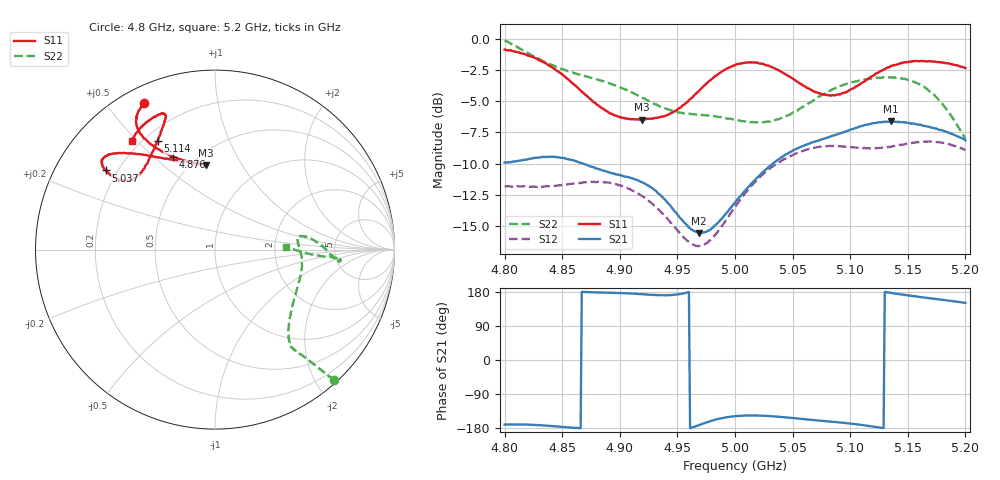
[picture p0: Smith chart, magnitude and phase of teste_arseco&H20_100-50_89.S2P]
! Network Analyzer HP8722D
! Hewlett-Packard
! Data name: Linha & Wilkinson
! Saver's name: Rodrigo Anjos
! Comments: Teste da utilização de aquisição
! continua pelo VNA HP8722D
! Time and date: 6/5/2025 13:18
!  Frequency  S11  S21  S12  S22
# HZ  S  MA R 50
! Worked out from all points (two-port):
!   401 points, 4.8 GHz to 5.2 GHz, reference 50 ohm
!   highest |S21| = -6.60 dB at 5.135 GHz (marker M1); lowest = -15.6 dB at 4.969 GHz (marker M2)
!   |S21| within 3 dB of the highest: 4.822 GHz to 4.853 GHz (30.87 MHz wide, 0.638 % of centre); 5.039 GHz to end of sweep
!   lowest |S11| = -6.5 dB at 4.919 GHz (marker M3), VSWR 2.80, Z = 29.3 + j35.6 ohm
!   |S11| at or under -10 dB: nowhere
!   |S22| runs from -8.0 to -0.1 dB; largest |S21 - S12| = 0.83
!   S11 on the Smith chart (normalised r, x): 4.8 GHz: 0.07, +0.63; 4.876 GHz: 0.38, +0.58; 5.037 GHz: 0.16, +0.32; 5.114 GHz: 0.25, +0.58; 5.2 GHz: 0.17, +0.48
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4.8e9  0.9053 115.7  0.3201 -170.5  0.2566 -86.1  0.9844 -47.5
4.819e9  0.8635 120.5  0.3288 -170.5  0.2558 -81.9  0.8828 -48.9
4.835e9  0.8008 122.6  0.3365 -172.9  0.2566 -76.5  0.808 -49.8
4.867e9  0.6132 117.9  0.3181 179.8  0.2651 -67.5  0.7155 -51.6
4.876e9  0.5638 114.2  0.3072 178.5  0.2672 -66.3  0.6964 -51.9
4.901e9  0.4851 100.8  0.2839 176.6  0.2584 -66.8  0.6369 -50.1
4.919e9  0.4742 96.0  0.2672 173.8  0.2352 -68.7  0.5828 -45.0
4.934e9  0.4844 99.1  0.2395 171.0  0.2072 -69.5  0.5383 -37.6
4.95e9  0.5214 109.3  0.1979 173.0  0.1711 -65.6  0.5099 -26.9
4.969e9  0.6206 123.4  0.1667 -171.3  0.1483 -47.9  0.4971 -15.2
4.981e9  0.6969 129.9  0.176 -159.4  0.1606 -33.9  0.49 -8.7
5e9  0.7849 137.3  0.2214 -148.3  0.2127 -21.6  0.4735 -0.3
5.018e9  0.8019 141.7  0.2739 -146.5  0.2693 -18.3  0.4635 5.8
5.037e9  0.7511 144.1  0.327 -149.5  0.3182 -18.4  0.4755 9.0
5.067e9  0.6215 142.0  0.3855 -158.0  0.3651 -20.6  0.5616 4.7
5.089e9  0.5978 132.2  0.4146 -164.3  0.3716 -23.8  0.6389 -2.0
5.114e9  0.6841 117.7  0.4526 -173.2  0.3647 -26.5  0.6886 -5.4
5.134e9  0.7691 111.3  0.4649 177.9  0.3692 -28.7  0.7008 -4.8
5.135e9  0.7773 111.0  0.4679 177.3  0.3704 -28.8  0.7007 -4.7
5.164e9  0.8148 113.3  0.449 165.0  0.3877 -36.0  0.6434 -3.6
5.181e9  0.8019 119.4  0.4282 158.4  0.3828 -41.2  0.5417 -2.9
5.2e9  0.7626 127.4  0.3922 150.8  0.3588 -46.4  0.3972 2.4
